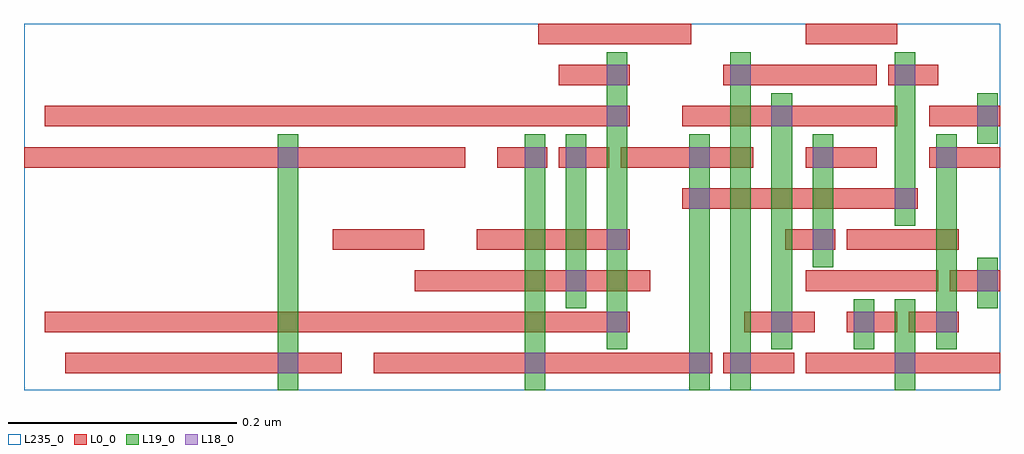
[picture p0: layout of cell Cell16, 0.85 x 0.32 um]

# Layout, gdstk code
import gdstk
lib = gdstk.Library(unit=1e-6, precision=2.5e-10)
def R(c, l, rs):  # rectangles x0, y0, x1, y1
    for r in rs: c.add(gdstk.rectangle(r[:2], r[2:], *l))
def A(c, l, x, y, w, h, nx, ny, dx, dy):  # array of equal rectangles
    R(c, l, [(x+i*dx, y+j*dy, x+i*dx+w, y+j*dy+h) for i in range(nx) for j in range(ny)])
L0_0 = (0, 0)
L18_0 = (18, 0)
L19_0 = (19, 0)
L235_0 = (235, 0)

cell16 = lib.new_cell('Cell16')
R(cell16, L0_0, [(0.04,-0.001,0.282,0.017), (0.31,-0.001,0.606,0.017), (0.616,-0.001,0.678,0.017), (0.688,-0.001,0.858,0.017), (0.022,0.035,0.534,0.053), (0.634,0.035,0.696,0.053), (0.724,0.035,0.768,0.053), (0.778,0.035,0.822,0.053), (0.346,0.071,0.552,0.089), (0.688,0.071,0.804,0.089), (0.814,0.071,0.858,0.089), (0.274,0.107,0.354,0.125), (0.4,0.107,0.534,0.125), (0.67,0.107,0.714,0.125), (0.724,0.107,0.822,0.125), (0.58,0.143,0.786,0.161), (0.004,0.179,0.39,0.197), (0.418,0.179,0.462,0.197), (0.472,0.179,0.516,0.197), (0.526,0.179,0.642,0.197), (0.688,0.179,0.75,0.197), (0.796,0.179,0.858,0.197), (0.022,0.215,0.534,0.233), (0.58,0.215,0.768,0.233), (0.796,0.215,0.858,0.233), (0.472,0.251,0.534,0.269), (0.616,0.251,0.75,0.269), (0.76,0.251,0.804,0.269), (0.454,0.287,0.588,0.305), (0.688,0.287,0.768,0.305)])
A(cell16, L18_0, 0.658, 0.035, 0.018, 0.018, 3, 1, 0.072, 0)
A(cell16, L18_0, 0.478, 0.179, 0.018, 0.018, 4, 1, 0.108, 0)
R(cell16, L18_0, [(0.226,-0.001,0.244,0.017), (0.442,-0.001,0.46,0.017), (0.586,-0.001,0.604,0.017), (0.622,-0.001,0.64,0.017), (0.766,-0.001,0.784,0.017), (0.514,0.035,0.532,0.053), (0.478,0.071,0.496,0.089), (0.838,0.071,0.856,0.089), (0.514,0.107,0.532,0.125), (0.694,0.107,0.712,0.125), (0.586,0.143,0.604,0.161), (0.766,0.143,0.784,0.161), (0.226,0.179,0.244,0.197), (0.442,0.179,0.46,0.197), (0.514,0.215,0.532,0.233), (0.658,0.215,0.676,0.233), (0.838,0.215,0.856,0.233), (0.514,0.251,0.532,0.269), (0.622,0.251,0.64,0.269), (0.766,0.251,0.784,0.269)])
R(cell16, L19_0, [(0.226,-0.016,0.244,0.208), (0.442,-0.016,0.46,0.208), (0.586,-0.016,0.604,0.208), (0.622,-0.016,0.64,0.28), (0.766,-0.016,0.784,0.028), (0.514,0.02,0.532,0.28), (0.658,0.02,0.676,0.244), (0.73,0.02,0.748,0.064), (0.766,0.02,0.784,0.064), (0.802,0.02,0.82,0.208), (0.478,0.056,0.496,0.208), (0.838,0.056,0.856,0.1), (0.694,0.092,0.712,0.208), (0.766,0.128,0.784,0.28), (0.838,0.2,0.856,0.244)])
R(cell16, L235_0, [(0.004,-0.016,0.858,0.305)])

lib.write_gds('Cell16.gds')
